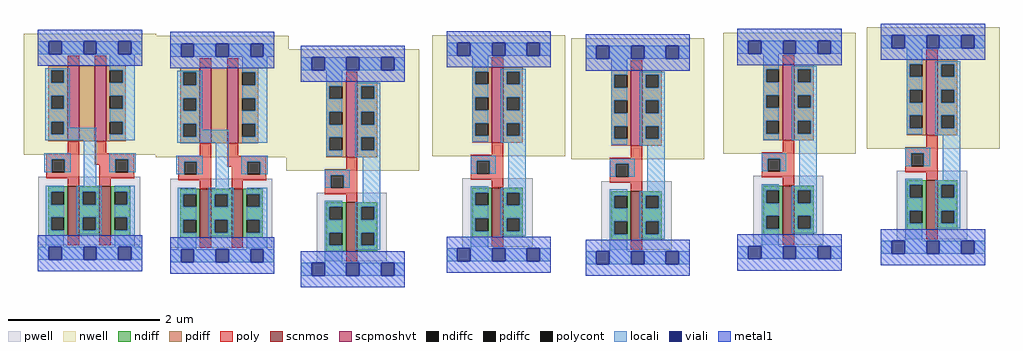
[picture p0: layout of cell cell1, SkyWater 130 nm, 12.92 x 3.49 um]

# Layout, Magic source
magic
tech sky130A
magscale 1 2
use sky130_fd_sc_hd__inv_1  sky130_fd_sc_hd__inv_1_0 $PDKPATH/libs.ref/sky130_fd_sc_hd/mag
transform 1 0 336 0 1 -34
box -38 -48 314 592
use sky130_fd_sc_hd__inv_1  sky130_fd_sc_hd__inv_1_1
transform 1 0 722 0 1 4
box -38 -48 314 592
use sky130_fd_sc_hd__inv_1  sky130_fd_sc_hd__inv_1_2
transform 1 0 1090 0 1 -4
box -38 -48 314 592
use sky130_fd_sc_hd__inv_1  sky130_fd_sc_hd__inv_1_3
transform 1 0 1492 0 1 10
box -38 -48 314 592
use sky130_fd_sc_hd__inv_1  sky130_fd_sc_hd__inv_1_4
transform 1 0 1872 0 1 24
box -38 -48 314 592
use sky130_fd_sc_hd__nor2_1  sky130_fd_sc_hd__nor2_1_0 $PDKPATH/libs.ref/sky130_fd_sc_hd/mag
transform 1 0 -10 0 1 2
box -38 -48 314 592
use sky130_fd_sc_hd__nor2_1  sky130_fd_sc_hd__nor2_1_1
transform 1 0 -360 0 1 8
box -38 -48 314 592
<< end >>

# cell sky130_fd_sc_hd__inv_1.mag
magic
tech sky130A
magscale 1 2
<< nwell >>
rect -38 261 314 582
<< pwell >>
rect 42 21 228 203
rect 42 17 63 21
rect 29 -17 63 17
<< scnmos >>
rect 120 47 150 177
<< scpmoshvt >>
rect 120 297 150 497
<< ndiff >>
rect 68 165 120 177
rect 68 131 76 165
rect 110 131 120 165
rect 68 97 120 131
rect 68 63 76 97
rect 110 63 120 97
rect 68 47 120 63
rect 150 165 202 177
rect 150 131 160 165
rect 194 131 202 165
rect 150 97 202 131
rect 150 63 160 97
rect 194 63 202 97
rect 150 47 202 63
<< pdiff >>
rect 68 485 120 497
rect 68 451 76 485
rect 110 451 120 485
rect 68 417 120 451
rect 68 383 76 417
rect 110 383 120 417
rect 68 349 120 383
rect 68 315 76 349
rect 110 315 120 349
rect 68 297 120 315
rect 150 485 202 497
rect 150 451 160 485
rect 194 451 202 485
rect 150 417 202 451
rect 150 383 160 417
rect 194 383 202 417
rect 150 349 202 383
rect 150 315 160 349
rect 194 315 202 349
rect 150 297 202 315
<< ndiffc >>
rect 76 131 110 165
rect 76 63 110 97
rect 160 131 194 165
rect 160 63 194 97
<< pdiffc >>
rect 76 451 110 485
rect 76 383 110 417
rect 76 315 110 349
rect 160 451 194 485
rect 160 383 194 417
rect 160 315 194 349
<< poly >>
rect 120 497 150 523
rect 120 265 150 297
rect 64 249 150 265
rect 64 215 80 249
rect 114 215 150 249
rect 64 199 150 215
rect 120 177 150 199
rect 120 21 150 47
<< polycont >>
rect 80 215 114 249
<< locali >>
rect 0 527 29 561
rect 63 527 121 561
rect 155 527 213 561
rect 247 527 276 561
rect 68 485 110 527
rect 68 451 76 485
rect 68 417 110 451
rect 68 383 76 417
rect 68 349 110 383
rect 68 315 76 349
rect 68 299 110 315
rect 144 485 210 493
rect 144 451 160 485
rect 194 451 210 485
rect 144 417 210 451
rect 144 383 160 417
rect 194 383 210 417
rect 144 349 210 383
rect 144 315 160 349
rect 194 315 210 349
rect 144 297 210 315
rect 64 249 130 263
rect 64 215 80 249
rect 114 215 130 249
rect 64 165 110 181
rect 164 177 210 297
rect 64 131 76 165
rect 64 97 110 131
rect 64 63 76 97
rect 64 17 110 63
rect 144 165 210 177
rect 144 131 160 165
rect 194 131 210 165
rect 144 97 210 131
rect 144 63 160 97
rect 194 63 210 97
rect 144 51 210 63
rect 0 -17 29 17
rect 63 -17 121 17
rect 155 -17 213 17
rect 247 -17 276 17
<< viali >>
rect 29 527 63 561
rect 121 527 155 561
rect 213 527 247 561
rect 29 -17 63 17
rect 121 -17 155 17
rect 213 -17 247 17
<< metal1 >>
rect 0 561 276 592
rect 0 527 29 561
rect 63 527 121 561
rect 155 527 213 561
rect 247 527 276 561
rect 0 496 276 527
rect 0 17 276 48
rect 0 -17 29 17
rect 63 -17 121 17
rect 155 -17 213 17
rect 247 -17 276 17
rect 0 -48 276 -17
<< labels >>
flabel locali s 164 289 198 323 0 FreeSans 340 0 0 0 Y
port 1 nsew
flabel locali s 164 221 198 255 0 FreeSans 340 0 0 0 Y
port 1 nsew
flabel locali s 72 221 106 255 0 FreeSans 340 0 0 0 A
port 2 nsew
flabel nwell s 29 527 63 561 0 FreeSans 200 0 0 0 VPB
port 3 nsew
flabel pwell s 29 -17 63 17 0 FreeSans 200 0 0 0 VNB
port 4 nsew
flabel metal1 s 29 -17 63 17 0 FreeSans 200 0 0 0 VGND
port 5 nsew
flabel metal1 s 29 527 63 561 0 FreeSans 200 0 0 0 VPWR
port 6 nsew
rlabel comment s 0 0 0 0 4 inv_1
<< properties >>
string FIXED_BBOX 0 0 276 544
string path 0.000 0.000 1.380 0.000 
<< end >>

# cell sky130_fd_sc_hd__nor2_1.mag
magic
tech sky130A
magscale 1 2
<< nwell >>
rect -38 261 314 582
<< pwell >>
rect 1 21 271 203
<< scnmos >>
rect 79 47 109 177
rect 163 47 193 177
<< scpmoshvt >>
rect 79 297 109 497
rect 151 297 181 497
<< ndiff >>
rect 27 163 79 177
rect 27 129 35 163
rect 69 129 79 163
rect 27 95 79 129
rect 27 61 35 95
rect 69 61 79 95
rect 27 47 79 61
rect 109 163 163 177
rect 109 129 119 163
rect 153 129 163 163
rect 109 95 163 129
rect 109 61 119 95
rect 153 61 163 95
rect 109 47 163 61
rect 193 163 245 177
rect 193 129 203 163
rect 237 129 245 163
rect 193 95 245 129
rect 193 61 203 95
rect 237 61 245 95
rect 193 47 245 61
<< pdiff >>
rect 27 485 79 497
rect 27 451 35 485
rect 69 451 79 485
rect 27 417 79 451
rect 27 383 35 417
rect 69 383 79 417
rect 27 349 79 383
rect 27 315 35 349
rect 69 315 79 349
rect 27 297 79 315
rect 109 297 151 497
rect 181 485 233 497
rect 181 451 191 485
rect 225 451 233 485
rect 181 417 233 451
rect 181 383 191 417
rect 225 383 233 417
rect 181 349 233 383
rect 181 315 191 349
rect 225 315 233 349
rect 181 297 233 315
<< ndiffc >>
rect 35 129 69 163
rect 35 61 69 95
rect 119 129 153 163
rect 119 61 153 95
rect 203 129 237 163
rect 203 61 237 95
<< pdiffc >>
rect 35 451 69 485
rect 35 383 69 417
rect 35 315 69 349
rect 191 451 225 485
rect 191 383 225 417
rect 191 315 225 349
<< poly >>
rect 79 497 109 523
rect 151 497 181 523
rect 79 265 109 297
rect 22 249 109 265
rect 22 215 37 249
rect 71 215 109 249
rect 151 265 181 297
rect 151 249 255 265
rect 151 235 205 249
rect 22 199 109 215
rect 79 177 109 199
rect 163 215 205 235
rect 239 215 255 249
rect 163 199 255 215
rect 163 177 193 199
rect 79 21 109 47
rect 163 21 193 47
<< polycont >>
rect 37 215 71 249
rect 205 215 239 249
<< locali >>
rect 0 527 29 561
rect 63 527 121 561
rect 155 527 213 561
rect 247 527 276 561
rect 19 485 85 490
rect 19 451 35 485
rect 69 451 85 485
rect 19 417 85 451
rect 19 383 35 417
rect 69 383 85 417
rect 19 349 85 383
rect 19 315 35 349
rect 69 333 85 349
rect 191 485 257 527
rect 225 451 257 485
rect 191 417 257 451
rect 225 383 257 417
rect 191 349 257 383
rect 69 315 155 333
rect 19 299 155 315
rect 225 315 257 349
rect 191 299 257 315
rect 17 249 87 265
rect 17 215 37 249
rect 71 215 87 249
rect 121 179 155 299
rect 189 249 259 265
rect 189 215 205 249
rect 239 215 259 249
rect 21 163 69 179
rect 21 129 35 163
rect 21 95 69 129
rect 21 61 35 95
rect 21 17 69 61
rect 103 163 169 179
rect 103 129 119 163
rect 153 129 169 163
rect 103 95 169 129
rect 103 61 119 95
rect 153 61 169 95
rect 103 51 169 61
rect 203 163 257 179
rect 237 129 257 163
rect 203 95 257 129
rect 237 61 257 95
rect 203 17 257 61
rect 0 -17 29 17
rect 63 -17 121 17
rect 155 -17 213 17
rect 247 -17 276 17
<< viali >>
rect 29 527 63 561
rect 121 527 155 561
rect 213 527 247 561
rect 29 -17 63 17
rect 121 -17 155 17
rect 213 -17 247 17
<< metal1 >>
rect 0 561 276 592
rect 0 527 29 561
rect 63 527 121 561
rect 155 527 213 561
rect 247 527 276 561
rect 0 496 276 527
rect 0 17 276 48
rect 0 -17 29 17
rect 63 -17 121 17
rect 155 -17 213 17
rect 247 -17 276 17
rect 0 -48 276 -17
<< properties >>
string FIXED_BBOX 0 0 276 544
<< end >>
